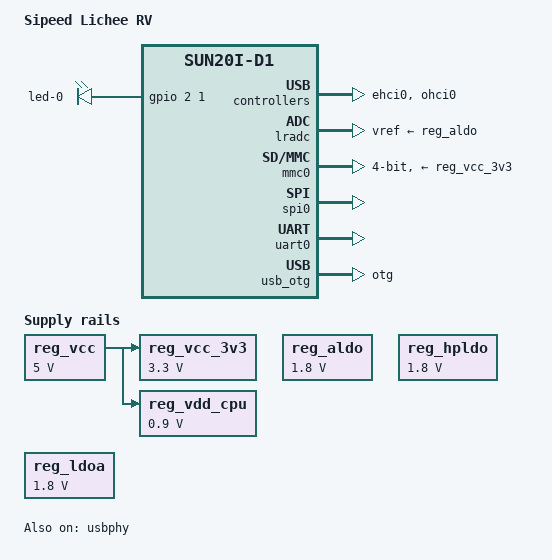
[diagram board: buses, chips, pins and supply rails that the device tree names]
// SPDX-License-Identifier: (GPL-2.0+ or MIT)
// Copyright (C) 2022 Jisheng Zhang <jszhang@kernel.org>
// Copyright (C) 2022 Samuel Holland <samuel@sholland.org>

/dts-v1/;

#include "sun20i-d1.dtsi"

#include <dt-bindings/gpio/gpio.h>
#include <dt-bindings/leds/common.h>

/ {
	model = "Sipeed Lichee RV";
	compatible = "sipeed,lichee-rv", "allwinner,sun20i-d1";

	aliases {
		mmc0 = &mmc0;
		serial0 = &uart0;
	};

	chosen {
		stdout-path = "serial0:115200n8";
	};

	leds {
		compatible = "gpio-leds";

		led-0 {
			function = LED_FUNCTION_STATUS;
			gpios = <&gpio 2 1 GPIO_ACTIVE_HIGH>; /* PC1 */
		};
	};

	reg_vcc: vcc {
		compatible = "regulator-fixed";
		regulator-name = "vcc";
		regulator-min-microvolt = <5000000>;
		regulator-max-microvolt = <5000000>;
	};

	reg_vcc_3v3: vcc-3v3 {
		compatible = "regulator-fixed";
		regulator-name = "vcc-3v3";
		regulator-min-microvolt = <3300000>;
		regulator-max-microvolt = <3300000>;
		vin-supply = <&reg_vcc>;
	};

	reg_vdd_cpu: vdd-cpu {
		compatible = "regulator-fixed";
		regulator-name = "vdd-cpu";
		regulator-min-microvolt = <900000>;
		regulator-max-microvolt = <900000>;
		vin-supply = <&reg_vcc>;
	};
};

&codec {
	avcc-supply = <&reg_aldo>;
	hpvcc-supply = <&reg_hpldo>;
	vdd33-supply = <&reg_vcc_3v3>;
};

&cpu0 {
	cpu-supply = <&reg_vdd_cpu>;
};

&ehci0 {
	status = "okay";
};

&gpio {
	vcc-pb-supply = <&reg_vcc_3v3>;
	vcc-pc-supply = <&reg_vcc_3v3>;
	vcc-pd-supply = <&reg_vcc_3v3>;
	vcc-pe-supply = <&reg_vcc_3v3>;
	vcc-pf-supply = <&reg_vcc_3v3>;
	vcc-pg-supply = <&reg_vcc_3v3>;
};

&lradc {
	vref-supply = <&reg_aldo>;
};

&mmc0 {
	broken-cd;
	bus-width = <4>;
	disable-wp;
	vmmc-supply = <&reg_vcc_3v3>;
	vqmmc-supply = <&reg_vcc_3v3>;
	pinctrl-0 = <&mmc0_pins>;
	pinctrl-names = "default";
	status = "okay";
};

&ohci0 {
	status = "okay";
};

&reg_aldo {
	regulator-min-microvolt = <1800000>;
	regulator-max-microvolt = <1800000>;
	vdd33-supply = <&reg_vcc_3v3>;
};

&reg_hpldo {
	regulator-min-microvolt = <1800000>;
	regulator-max-microvolt = <1800000>;
	hpldoin-supply = <&reg_vcc_3v3>;
};

&reg_ldoa {
	regulator-always-on;
	regulator-min-microvolt = <1800000>;
	regulator-max-microvolt = <1800000>;
	ldo-in-supply = <&reg_vcc_3v3>;
};

&spi0 {
	pinctrl-0 = <&spi0_pins>;
	pinctrl-names = "default";
	status = "okay";
};

&ths {
	vref-supply = <&reg_aldo>;
};

&uart0 {
	pinctrl-0 = <&uart0_pb8_pins>;
	pinctrl-names = "default";
	status = "okay";
};

&usb_otg {
	dr_mode = "otg";
	status = "okay";
};

&usbphy {
	usb0_vbus-supply = <&reg_vcc>;
	usb0_vbus_det-gpios = <&gpio 3 20 GPIO_ACTIVE_HIGH>; /* PD20 */
	status = "okay";
};
